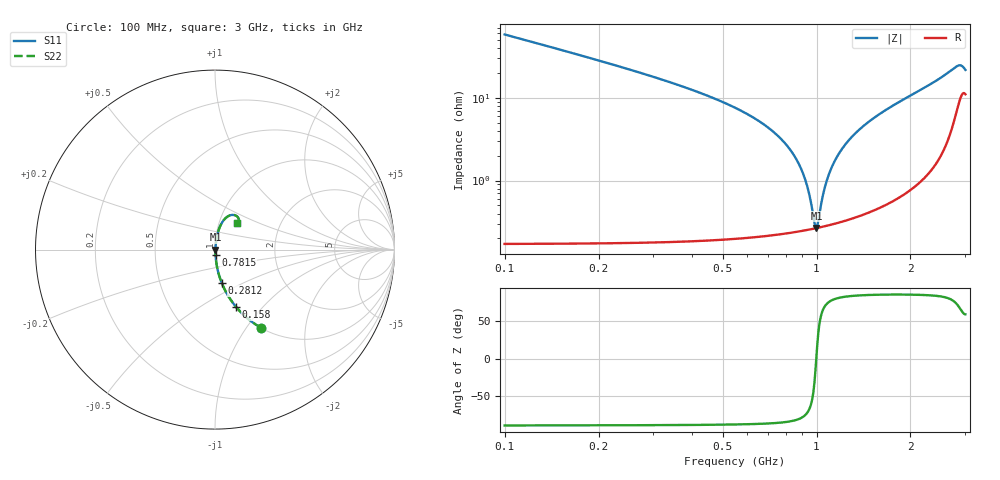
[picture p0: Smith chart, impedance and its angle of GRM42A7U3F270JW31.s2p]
!Murata Part Number: GRM42A7U3F270JW31
!These Parameters are Measured in Series Mode Connection
!Data Generated on Mar 30, 2021
!  o--ll--o
!Port1  Port2
!  o------o
!Operation Temp=25[degC], DC Bias Voltage=0[V]
!Freq. Start=100[MHz] Stop=3[GHz] 401[Steps]
# Hz S RI R 50
!Freq.(Hz) S11(Real) S11(Imag) S21(Real) S21(Imag) S12(Real) S12(Imag) S22(Real) S22(Imag)
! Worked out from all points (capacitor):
!   401 points, 100 MHz to 3 GHz, reference 50 ohm
!   read as one part in series: C = 27 pF near 114.5 MHz
!   lowest |Z| = 267 mohm at 999 MHz (marker M1)
!   series resonance near 997.9 MHz, so ESL is about 940 pH
!   S11 on the Smith chart (normalised r, x): 100 MHz: 1.00, -1.17; 158 MHz: 1.00, -0.73; 281.2 MHz: 1.00, -0.39; 781.5 MHz: 1.00, -0.06; 3 GHz: 1.22, +0.38
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1e8  0.2548 -0.4343  0.7452 0.4343  0.7452 0.4343  0.2548 -0.4343
1.58e8  0.1182 -0.3205  0.8818 0.3205  0.8818 0.3205  0.1182 -0.3205
2.8125e8  0.0377 -0.1859  0.9623 0.1859  0.9623 0.1859  0.0377 -0.1859
5.8575e8  0.00643 -0.0663  0.9936 0.0663  0.9936 0.0663  0.00643 -0.0663
7.815e8  0.00315 -0.0297  0.9969 0.0297  0.9969 0.0297  0.00315 -0.0297
8.54e8  0.00274 -0.0189  0.9973 0.0189  0.9973 0.0189  0.00274 -0.0189
9.0475e8  0.00261 -0.0119  0.9974 0.0119  0.9974 0.0119  0.00261 -0.0119
9.41e8  0.00259 -0.00715  0.9974 0.00715  0.9974 0.00715  0.00259 -0.00715
9.845e8  0.00263 -0.00165  0.9974 0.00165  0.9974 0.00165  0.00263 -0.00165
9.99e8  0.00266 0.000131  0.9973 -0.000131  0.9973 -0.000131  0.00266 0.000131
1.0135e9  0.00269 0.00189  0.9973 -0.00189  0.9973 -0.00189  0.00269 0.00189
1.0425e9  0.00278 0.00536  0.9972 -0.00536  0.9972 -0.00536  0.00278 0.00536
1.0715e9  0.0029 0.00875  0.9971 -0.00875  0.9971 -0.00875  0.0029 0.00875
1.1005e9  0.00304 0.0121  0.997 -0.0121  0.997 -0.0121  0.00304 0.0121
1.13675e9  0.00324 0.0161  0.9968 -0.0161  0.9968 -0.0161  0.00324 0.0161
1.23825e9  0.004 0.0271  0.996 -0.0271  0.996 -0.0271  0.004 0.0271
1.36875e9  0.00535 0.0406  0.9947 -0.0406  0.9947 -0.0406  0.00535 0.0406
1.55e9  0.0079 0.0586  0.9921 -0.0586  0.9921 -0.0586  0.0079 0.0586
2.03575e9  0.0198 0.1075  0.9802 -0.1075  0.9802 -0.1075  0.0198 0.1075
2.5215e9  0.0493 0.1651  0.9507 -0.1651  0.9507 -0.1651  0.0493 0.1651
2.83325e9  0.112 0.1911  0.888 -0.1911  0.888 -0.1911  0.112 0.1911
3e9  0.1246 0.1479  0.8754 -0.1479  0.8754 -0.1479  0.1246 0.1479
